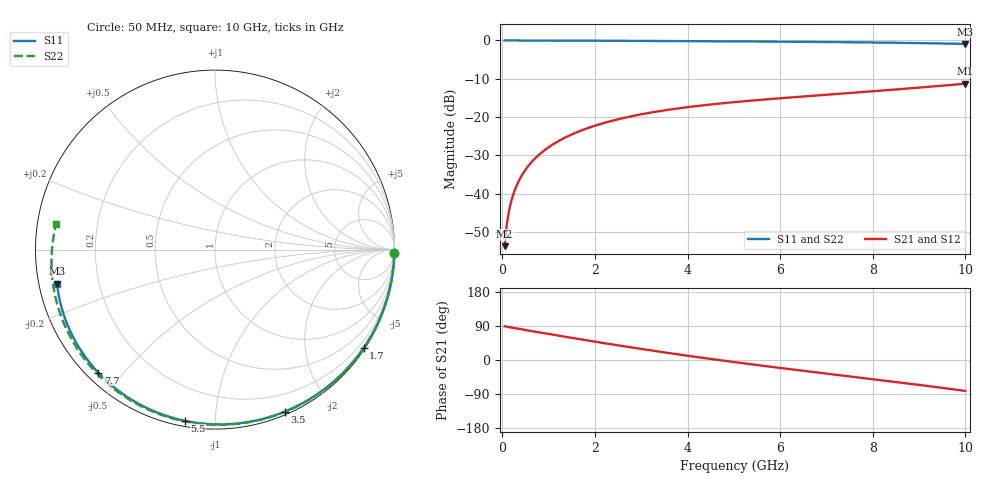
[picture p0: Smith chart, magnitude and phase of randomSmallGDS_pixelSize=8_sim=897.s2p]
! freq	dB(S11)	phase(S11)	dB(S12)	phase(S12)
!  dB(S21)	phase(S21)	dB(S22)	phase(S22)
!S-par simulation data
#  GHz  S  DB  R 50
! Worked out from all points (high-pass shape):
!   200 points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, 50 MHz to 10 GHz, reference 50 ohm
!   highest |S21| = -11.29 dB at 10 GHz (marker M1); lowest = -53.7 dB at 50 MHz (marker M2)
!   |S21| within 3 dB of the highest: 6.875 GHz to end of sweep
!   lowest |S11| = -0.9 dB at 10 GHz (marker M3), VSWR 19.06, Z = 2.65 - j5.33 ohm
!   |S11| at or under -10 dB: nowhere
!   |S22| runs from -0.9 to 0.0 dB; largest |S21 - S12| = 0
!   S11 on the Smith chart (normalised r, x): 50 MHz: open; 1.7 GHz: 0.04, -3.32; 3.5 GHz: 0.03, -1.52; 5.5 GHz: 0.03, -0.84; 7.7 GHz: 0.03, -0.43; 10 GHz: 0.05, -0.11
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0.05  -0.01 -1.0  -53.70 88.9  -53.70 88.9  -0.01 -1.1
0.1  -0.01 -2.0  -47.68 87.8  -47.68 87.8  -0.01 -2.2
0.15  -0.01 -3.0  -44.17 86.7  -44.17 86.7  -0.01 -3.4
0.2  -0.01 -4.0  -41.67 85.6  -41.67 85.6  -0.01 -4.5
0.3  -0.01 -6.0  -38.16 83.4  -38.16 83.4  -0.01 -6.7
0.45  -0.01 -9.0  -34.67 80.2  -34.67 80.2  -0.02 -10.1
0.65  -0.02 -13.0  -31.52 75.9  -31.52 75.9  -0.02 -14.5
0.95  -0.03 -18.9  -28.31 69.7  -28.31 69.7  -0.03 -21.1
1.3  -0.04 -25.8  -25.70 62.5  -25.70 62.5  -0.05 -28.8
1.7  -0.06 -33.5  -23.53 54.4  -23.53 54.4  -0.07 -37.4
1.75  -0.06 -34.5  -23.30 53.4  -23.30 53.4  -0.07 -38.5
2.6  -0.10 -50.4  -20.30 36.7  -20.30 36.7  -0.11 -56.2
3.4  -0.15 -64.9  -18.45 21.9  -18.45 21.9  -0.15 -72.2
3.5  -0.15 -66.7  -18.26 20.1  -18.26 20.1  -0.16 -74.1
4.25  -0.19 -79.6  -17.06 7.0  -17.06 7.0  -0.21 -88.4
5.05  -0.24 -92.8  -16.06 -6.2  -16.06 -6.2  -0.26 -102.9
5.5  -0.28 -100.0  -15.58 -13.3  -15.58 -13.3  -0.29 -110.9
6.7  -0.38 -118.5  -14.45 -31.5  -14.45 -31.5  -0.40 -131.5
7.7  -0.49 -133.5  -13.55 -46.2  -13.55 -46.2  -0.52 -148.4
8.35  -0.58 -143.1  -12.94 -55.8  -12.94 -55.8  -0.62 -159.5
9.2  -0.73 -155.7  -12.12 -68.8  -12.12 -68.8  -0.77 -174.4
10  -0.91 -167.8  -11.29 -81.7  -11.29 -81.7  -0.95 170.9
